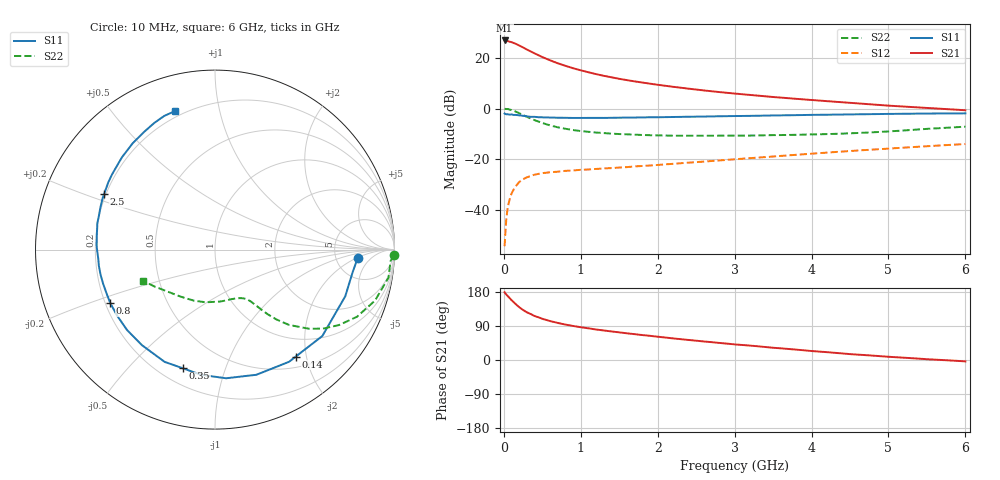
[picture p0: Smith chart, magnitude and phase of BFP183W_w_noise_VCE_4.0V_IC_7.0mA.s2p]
! Infineon Technologies  Discrete & RF Semiconductors
! BFP183W
! VCE =  4.0 V,  IC =  7.0 mA
! Common Emitter S-Parameters:  Jan 2017
# GHz  S  MA  R  50
!  f  S11  S21  S12  S22
! GHz  MAG  ANG  MAG  ANG  MAG  ANG  MAG  ANG
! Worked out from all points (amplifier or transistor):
!   77 points, 10 MHz to 6 GHz, reference 50 ohm
!   highest |S21| = 26.9 dB at 10 MHz (marker M1)
!   |S21| within 3 dB of that: start of sweep to 263.9 MHz
!   unconditionally stable (mu >= 1): 1.915 GHz to 4.262 GHz
!   at 130 MHz: K = 0.11, MSG = 28.9 dB, |S12| = -31.9 dB
!   at 2.2 GHz: K = 1.04, MAG = 13.9 dB, |S12| = -21.9 dB
!   at 6 GHz: K = 0.84, MSG = 6.7 dB, |S12| = -14.0 dB
!   lowest NFmin = 0.82 dB at 450 MHz
!   S11 on the Smith chart (normalised r, x): 10 MHz: 8.30, -2.08; 140 MHz: 0.67, -1.81; 350 MHz: 0.29, -0.72; 800 MHz: 0.22, -0.23; 2.5 GHz: 0.19, +0.23; 6 GHz: 0.17, +0.74
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0.01  0.7965 -3.3  22.18 178.7  0.0019 83.0  0.9955 -1.8
0.02  0.7772 -9.3  21.88 175.5  0.0035 90.8  0.9804 -3.7
0.05  0.7709 -19.7  21.57 168.8  0.0108 79.5  0.979 -9.2
0.1  0.7677 -38.8  20.56 157.9  0.0208 71.8  0.9357 -17.7
0.14  0.7468 -53.0  19.41 150.2  0.027 64.5  0.886 -23.7
0.15  0.7489 -56.6  19.18 148.2  0.0286 63.2  0.8752 -25.3
0.2  0.7345 -71.7  17.64 139.4  0.0352 55.9  0.8089 -31.3
0.25  0.7195 -85.1  16.12 132.0  0.0401 51.4  0.7455 -36.2
0.3  0.7018 -96.3  14.67 125.8  0.0437 47.4  0.6847 -40.1
0.35  0.6852 -105.1  13.44 121.3  0.0464 44.0  0.6358 -42.6
0.4  0.6855 -114.2  12.31 116.0  0.0493 41.0  0.5884 -45.5
0.5  0.6702 -127.4  10.41 108.7  0.0528 37.2  0.5177 -48.7
0.6  0.664 -137.6  9.001 102.8  0.0549 34.7  0.4648 -50.8
0.8  0.6552 -152.9  6.998 93.5  0.0586 33.7  0.3983 -53.2
1.1  0.6527 -167.9  5.208 83.6  0.0623 34.0  0.3467 -55.7
1.5  0.6598 178.1  3.872 72.9  0.0682 36.2  0.3128 -60.1
2.1  0.676 162.1  2.817 59.3  0.0787 40.5  0.2928 -69.6
2.5  0.691 153.4  2.374 51.0  0.0871 42.9  0.2896 -77.9
3.1  0.713 142.1  1.916 39.6  0.1018 45.0  0.2914 -91.2
4.1  0.7518 126.3  1.437 22.2  0.1312 45.6  0.3097 -115.3
5.1  0.7852 114.5  1.117 7.3  0.1649 42.9  0.3604 -140.7
6  0.8036 106.0  0.925 -3.7  0.1988 38.6  0.438 -156.8
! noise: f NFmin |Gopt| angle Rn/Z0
0.45  0.82  0.16  68  0.11
0.9  0.91  0.21  112  0.1
1.9  1.45  0.39  172  0.07
2.4  1.71  0.45  -173  0.09
